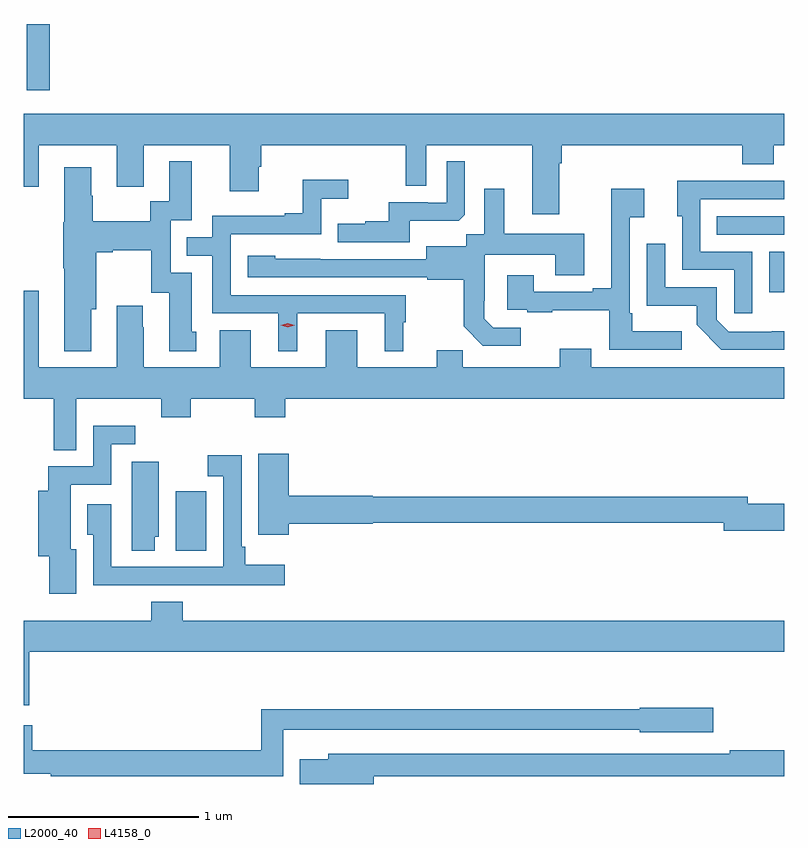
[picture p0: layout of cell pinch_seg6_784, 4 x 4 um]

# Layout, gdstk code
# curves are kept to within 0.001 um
import gdstk
lib = gdstk.Library(unit=1e-6, precision=1e-09)
def R(c, l, rs):  # rectangles x0, y0, x1, y1
    for r in rs: c.add(gdstk.rectangle(r[:2], r[2:], *l))
def P(c, l, *ps):  # polygons
    for p in ps: c.add(gdstk.Polygon(p, *l))
L2000_40 = (2000, 40)
L4158_0 = (4158, 0)

pinch_seg6_784 = lib.new_cell('pinch_seg6_784')
R(pinch_seg6_784, L2000_40, [(207.086,966.517,207.247,966.828), (210.206,967.874,210.286,968.089), (209.929,968.178,210.286,968.274), (206.303,968.937,206.425,969.285)])
P(pinch_seg6_784, L2000_40, [(206.286,968.43),(206.365,968.43),(206.365,968.648),(206.777,968.648),(206.777,968.43),(206.917,968.43),(206.917,968.648),(207.371,968.648),(207.371,968.406),(207.523,968.406),(207.523,968.535),(207.536,968.535),(207.536,968.648),(208.296,968.648),(208.296,968.434),(208.404,968.434),(208.404,968.648),(208.961,968.648),(208.961,968.286),(209.101,968.286),(209.101,968.552),(209.114,968.552),(209.114,968.648),(210.065,968.648),(210.065,968.549),(210.229,968.549),(210.229,968.648),(210.286,968.648),(210.286,968.812),(206.286,968.812)],
  [(206.641,967.785),(206.667,967.785),(206.667,968.084),(206.755,968.084),(206.755,968.096),(206.957,968.096),(206.957,967.872),(207.053,967.872),(207.053,967.566),(207.193,967.566),(207.193,967.668),(207.169,967.668),(207.169,967.977),(207.06,967.977),(207.06,968.253),(207.169,968.253),(207.169,968.563),(207.053,968.563),(207.053,968.354),(206.952,968.354),(206.952,968.248),(206.649,968.248),(206.649,968.382),(206.641,968.382),(206.641,968.533),(206.501,968.533),(206.501,968.244),(206.494,968.244),(206.494,968),(206.501,968),(206.501,967.565),(206.641,967.565)],
  [(208.315,968.252),(208.573,968.252),(208.605,968.283),(208.605,968.563),(208.512,968.563),(208.512,968.346),(208.412,968.346),(208.412,968.349),(208.205,968.349),(208.205,968.248),(208.081,968.248),(208.081,968.236),(207.937,968.236),(207.937,968.139),(208.315,968.139)],
  [(207.724,967.764),(208.184,967.764),(208.184,967.565),(208.282,967.565),(208.282,967.716),(208.294,967.716),(208.294,967.86),(207.375,967.86),(207.375,968.181),(207.852,968.181),(207.852,968.366),(207.994,968.366),(207.994,968.465),(207.754,968.465),(207.754,968.29),(207.659,968.29),(207.659,968.277),(207.279,968.277),(207.279,968.163),(207.145,968.163),(207.145,968.067),(207.279,968.067),(207.279,967.764),(207.626,967.764),(207.626,967.565),(207.724,967.565)],
  [(210.117,968.088),(209.844,968.088),(209.844,968.364),(210.286,968.364),(210.286,968.46),(209.941,968.46),(209.941,968.462),(209.723,968.462),(209.723,968.274),(209.748,968.274),(209.748,967.992),(210.021,967.992),(210.021,967.764),(210.117,967.764)],
  [(209.746,967.669),(209.485,967.669),(209.485,967.765),(209.472,967.765),(209.472,968.27),(209.548,968.27),(209.548,968.419),(209.375,968.419),(209.375,967.897),(209.279,967.897),(209.279,967.878),(208.969,967.878),(208.969,967.963),(208.829,967.963),(208.829,967.782),(208.933,967.782),(208.933,967.77),(209.065,967.77),(209.065,967.781),(209.364,967.781),(209.364,967.572),(209.746,967.572)],
  [(208.9,967.689),(208.755,967.689),(208.708,967.736),(208.708,967.831),(208.71,967.831),(208.71,968.072),(209.081,968.072),(209.081,967.963),(209.233,967.963),(209.233,968.182),(208.813,968.182),(208.813,968.419),(208.709,968.419),(208.709,968.18),(208.614,968.18),(208.614,968.116),(208.403,968.116),(208.403,968.049),(207.609,968.05),(207.609,968.068),(207.465,968.068),(207.465,967.953),(208.407,967.953),(208.407,967.941),(208.599,967.941),(208.599,967.695),(208.699,967.595),(208.9,967.595)],
  [(210.286,967.67),(210.218,967.67),(210.218,967.668),(209.994,967.668),(209.931,967.731),(209.931,967.902),(209.658,967.902),(209.658,968.131),(209.562,968.131),(209.562,967.805),(209.824,967.805),(209.824,967.703),(209.954,967.572),(210.286,967.572)],
  [(207.01,967.217),(207.165,967.217),(207.165,967.316),(207.502,967.316),(207.502,967.217),(207.662,967.217),(207.662,967.316),(210.286,967.316),(210.286,967.48),(209.269,967.48),(209.269,967.579),(209.105,967.579),(209.105,967.48),(208.595,967.48),(208.595,967.571),(208.457,967.571),(208.457,967.48),(208.039,967.48),(208.039,967.675),(207.875,967.675),(207.875,967.48),(207.481,967.48),(207.481,967.675),(207.317,967.675),(207.317,967.48),(206.917,967.48),(206.917,967.691),(206.914,967.691),(206.914,967.804),(206.777,967.804),(206.777,967.48),(206.365,967.48),(206.365,967.882),(206.286,967.882),(206.286,967.316),(206.445,967.316),(206.445,967.045),(206.563,967.045),(206.563,967.316),(207.01,967.316)],
  [(206.563,966.523),(206.533,966.523),(206.533,966.864),(206.748,966.864),(206.748,967.077),(206.872,967.077),(206.872,967.174),(206.652,967.174),(206.652,966.96),(206.415,966.96),(206.415,966.832),(206.363,966.832),(206.363,966.488),(206.42,966.488),(206.42,966.291),(206.563,966.291)],
  [(207.68,966.659),(208.122,966.659),(208.122,966.664),(209.966,966.664),(209.966,966.622),(210.286,966.622),(210.286,966.764),(210.094,966.764),(210.094,966.8),(208.122,966.8),(208.122,966.806),(207.68,966.806),(207.68,967.027),(207.521,967.027),(207.521,966.6),(207.68,966.6)],
  [(206.873,966.336),(207.239,966.336),(207.239,966.335),(207.658,966.335),(207.658,966.442),(207.452,966.442),(207.452,966.538),(207.432,966.538),(207.432,967.018),(207.255,967.018),(207.255,966.909),(207.336,966.909),(207.336,966.432),(206.748,966.432),(206.748,966.76),(206.621,966.76),(206.621,966.601),(206.652,966.601),(206.652,966.335),(206.873,966.335)],
  [(206.977,966.591),(206.998,966.591),(206.998,966.985),(206.855,966.985),(206.855,966.517),(206.977,966.517)],
  [(210.286,966.148),(207.122,966.148),(207.122,966.247),(206.957,966.247),(206.957,966.148),(206.286,966.148),(206.286,965.703),(206.317,965.703),(206.317,965.984),(210.286,965.984)],
  [(207.651,965.574),(209.526,965.574),(209.526,965.561),(209.911,965.561),(209.911,965.691),(209.526,965.691),(209.526,965.683),(207.535,965.683),(207.535,965.468),(206.332,965.468),(206.332,965.599),(206.286,965.599),(206.286,965.345),(206.428,965.345),(206.428,965.332),(207.651,965.332)],
  [(208.126,965.332),(210.286,965.332),(210.286,965.468),(209.998,965.468),(209.998,965.448),(207.887,965.448),(207.887,965.419),(207.738,965.419),(207.738,965.29),(208.126,965.29)])
P(pinch_seg6_784, L4158_0, [(207.675,967.692),(207.639,967.702),(207.639,967.702),(207.639,967.702),(207.675,967.712),(207.711,967.702),(207.711,967.702),(207.711,967.702)])

lib.write_gds('pinch_seg6_784.gds')
